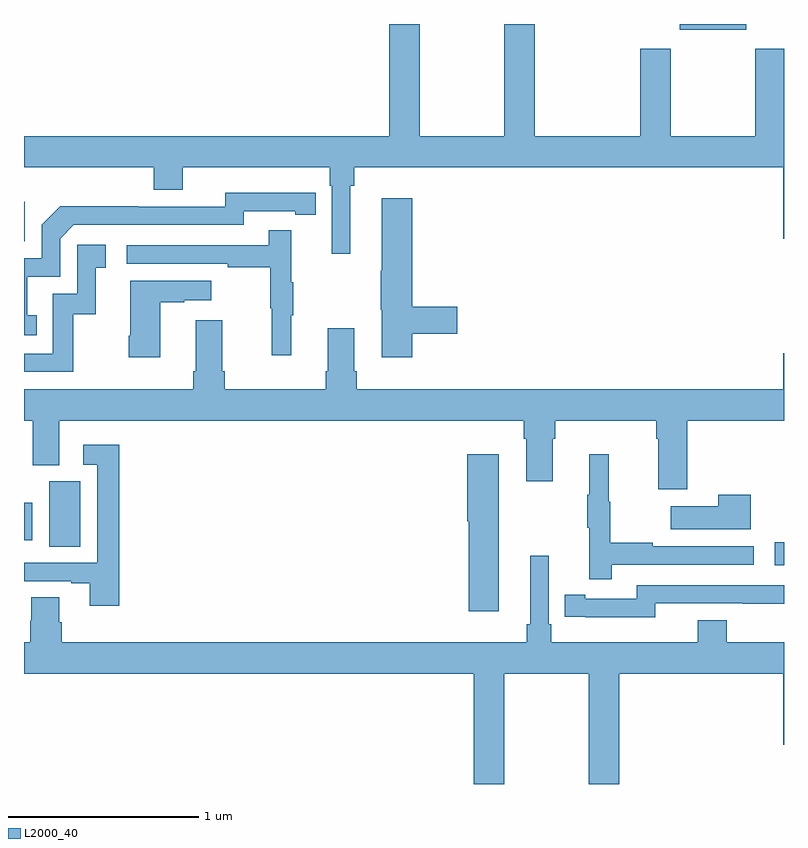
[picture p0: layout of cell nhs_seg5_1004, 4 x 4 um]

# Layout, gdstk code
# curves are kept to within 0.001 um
import gdstk
lib = gdstk.Library(unit=1e-6, precision=1e-09)
def R(c, l, rs):  # rectangles x0, y0, x1, y1
    for r in rs: c.add(gdstk.rectangle(r[:2], r[2:], *l))
def P(c, l, *ps):  # polygons
    for p in ps: c.add(gdstk.Polygon(p, *l))
L2000_40 = (2000, 40)

nhs_seg5_1004 = lib.new_cell('nhs_seg5_1004')
R(nhs_seg5_1004, L2000_40, [(176.952,903.951,177,904.071), (173.132,904.048,173.296,904.392), (173,904.083,173.044,904.279), (173,905.655,173.004,905.863), (176.45,906.77,176.8,906.799)])
P(nhs_seg5_1004, L2000_40, [(174.718,905.948),(174.737,905.948),(174.737,906.044),(176.996,906.044),(176.996,905.67),(177,905.67),(177,906.67),(176.848,906.67),(176.848,906.208),(176.403,906.208),(176.403,906.67),(176.243,906.67),(176.243,906.208),(175.688,906.208),(175.688,906.799),(175.528,906.799),(175.528,906.208),(175.083,906.208),(175.083,906.799),(174.923,906.799),(174.923,906.208),(173,906.208),(173,906.044),(173.684,906.044),(173.684,905.927),(173.836,905.927),(173.836,906.044),(174.608,906.044),(174.608,905.948),(174.621,905.948),(174.621,905.589),(174.718,905.589)],
  [(173.066,905.265),(173.017,905.265),(173.017,905.469),(173.19,905.469),(173.19,905.67),(173.262,905.742),(174.156,905.742),(174.156,905.814),(174.428,905.814),(174.428,905.794),(174.536,905.794),(174.536,905.91),(174.06,905.911),(174.06,905.838),(173.6,905.838),(173.6,905.84),(173.192,905.84),(173.094,905.742),(173.094,905.565),(173,905.565),(173,905.16),(173.066,905.16)],
  [(175.043,905.17),(175.279,905.17),(175.279,905.312),(175.043,905.312),(175.043,905.881),(174.884,905.881),(174.884,905.501),(174.877,905.501),(174.877,905.295),(174.884,905.295),(174.884,905.046),(175.043,905.046)],
  [(174.407,905.267),(174.418,905.267),(174.418,905.441),(174.407,905.441),(174.407,905.713),(174.289,905.713),(174.289,905.634),(173.541,905.634),(173.541,905.538),(174.073,905.538),(174.073,905.518),(174.297,905.518),(174.297,905.304),(174.304,905.304),(174.304,905.055),(174.407,905.055)],
  [(173.26,905.271),(173.378,905.271),(173.378,905.517),(173.431,905.517),(173.431,905.638),(173.28,905.638),(173.28,905.379),(173.151,905.379),(173.151,905.064),(173,905.064),(173,904.968),(173.26,904.968)],
  [(173.716,905.335),(173.843,905.335),(173.843,905.345),(173.986,905.345),(173.986,905.449),(173.558,905.449),(173.558,905.158),(173.551,905.158),(173.551,905.046),(173.716,905.046)],
  [(176.492,904.712),(177,904.712),(177,905.065),(176.996,905.065),(176.996,904.876),(174.752,904.876),(174.752,904.972),(174.739,904.972),(174.739,905.197),(174.599,905.197),(174.599,904.972),(174.587,904.972),(174.587,904.876),(174.056,904.876),(174.056,904.972),(174.043,904.972),(174.043,905.239),(173.903,905.239),(173.903,904.972),(173.891,904.972),(173.891,904.876),(173,904.876),(173,904.712),(173.045,904.712),(173.045,904.477),(173.185,904.477),(173.185,904.712),(175.631,904.712),(175.631,904.616),(175.643,904.616),(175.643,904.392),(175.783,904.392),(175.783,904.616),(175.796,904.616),(175.796,904.712),(176.327,904.712),(176.327,904.616),(176.339,904.616),(176.339,904.35),(176.492,904.35)],
  [(173.501,904.585),(173.313,904.585),(173.313,904.479),(173.385,904.479),(173.385,903.963),(173,903.963),(173,903.867),(173.249,903.867),(173.249,903.855),(173.345,903.855),(173.345,903.738),(173.501,903.738)],
  [(175.498,904.534),(175.334,904.534),(175.334,904.182),(175.34,904.182),(175.34,903.708),(175.498,903.708)],
  [(176.093,903.954),(176.842,903.954),(176.842,904.05),(176.309,904.05),(176.309,904.07),(176.086,904.07),(176.086,904.284),(176.078,904.284),(176.078,904.534),(175.976,904.534),(175.976,904.321),(175.965,904.321),(175.965,904.147),(175.976,904.147),(175.976,903.876),(176.093,903.876)],
  [(176.824,904.321),(176.654,904.321),(176.654,904.261),(176.405,904.261),(176.405,904.139),(176.824,904.139)],
  [(176.996,903.006),(177,903.006),(177,903.544),(176.699,903.544),(176.699,903.661),(176.546,903.661),(176.546,903.544),(175.775,903.544),(175.775,903.64),(175.761,903.64),(175.761,904),(175.664,904),(175.664,903.64),(175.645,903.64),(175.645,903.544),(173.198,903.544),(173.198,903.65),(173.185,903.65),(173.185,903.782),(173.038,903.782),(173.038,903.657),(173.033,903.657),(173.033,903.544),(173,903.544),(173,903.38),(175.367,903.38),(175.367,902.799),(175.527,902.799),(175.527,903.38),(175.972,903.38),(175.972,902.799),(176.132,902.799),(176.132,903.38),(176.996,903.38)],
  [(176.322,903.75),(176.782,903.75),(176.782,903.749),(177,903.749),(177,903.846),(176.226,903.846),(176.226,903.774),(175.954,903.774),(175.954,903.794),(175.846,903.794),(175.846,903.678),(175.954,903.678),(175.954,903.677),(176.322,903.677)])

lib.write_gds('nhs_seg5_1004.gds')
